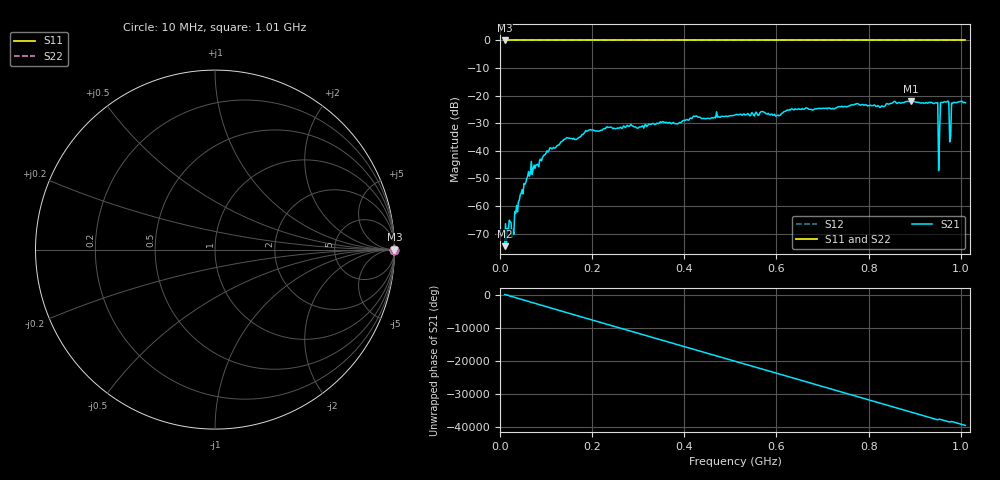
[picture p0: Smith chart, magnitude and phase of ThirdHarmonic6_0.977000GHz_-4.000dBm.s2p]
! 8/16/2025 7:30:16 AM
! C:\ANRITSUVNA\TEMP\TEMP.S2P
! CHANNEL.1
! TR.MEASUREMENT
! RAW.DATA
! RF.CORRECTION.OFF
! AVERAGING.OFF
! IF.BANDWIDTH: 5KHZ
! SWEEPTYPE:  FREQ.SWEEP(Linear)
! Reference Plane Port Info
! PORT:  PORT1  PORT2
! DISTANCE:  0  m  0  m
! TIME:  0  s  0  s
! PHASE.OFFSET:  0  deg.  0  deg.
! LOSS:  0  dB  0  dB
! REF.LOSS:  0  dB  0  dB
! REF.FREQ:  0  Hz  0  Hz
! Power Info
! POWER:  -20  dBm  -20  dBm
! EFF.POWER:  -20  dBm  -20  dBm
! SOURCE.ATTEN:  0  dB  0  dB
! TEST.ATTEN:  0  dB  0  dB
# GHZ S RI R 50.0
! FREQ.GHZ  S11RE  S11IM  S21RE  S21IM  S12RE  S12IM  S22RE  S22IM
!; PortSelection: Port_12
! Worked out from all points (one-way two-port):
!   501 points, 10 MHz to 1.01 GHz, reference 50 ohm
!   highest |S21| = -21.88 dB at 892 MHz (marker M1); lowest = -74.5 dB at 10 MHz (marker M2)
!   lowest |S11| = 0.0 dB at 10 MHz (marker M3)
!   |S11| at or under -10 dB: nowhere
!   |S22| runs from 0.0 to 0.0 dB; largest |S21 - S12| = 1.1
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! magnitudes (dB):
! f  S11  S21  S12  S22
! 10 MHz  0.0  -74.5  0.0  0.0
! 20 MHz  0.0  -65.1  0.0  0.0
! 26 MHz  0.0  -71.4  0.0  0.0
! 30 MHz  0.0  -70.3  0.0  0.0
! 44 MHz  0.0  -55.8  0.0  0.0
! 64 MHz  0.0  -49.1  0.0  0.0
! 106 MHz  0.0  -40.0  0.0  0.0
! 178 MHz  0.0  -34.1  0.0  0.0
! 344 MHz  0.0  -30.1  0.0  0.0
! 510 MHz  0.0  -27.0  0.0  0.0
! 678 MHz  0.0  -25.2  0.0  0.0
! 844 MHz  0.0  -23.1  0.0  0.0
! 892 MHz  0.0  -21.9  0.0  0.0
! 946 MHz  0.0  -22.6  0.0  0.0
! 950 MHz  0.0  -22.6  0.0  0.0
! 956 MHz  0.0  -22.6  0.0  0.0
! 960 MHz  0.0  -22.5  0.0  0.0
! 970 MHz  0.0  -22.2  0.0  0.0
! 974 MHz  0.0  -22.4  0.0  0.0
! 980 MHz  0.0  -22.7  0.0  0.0
! 984 MHz  0.0  -22.4  0.0  0.0
! 1.01 GHz  0.0  -22.5  0.0  0.0
